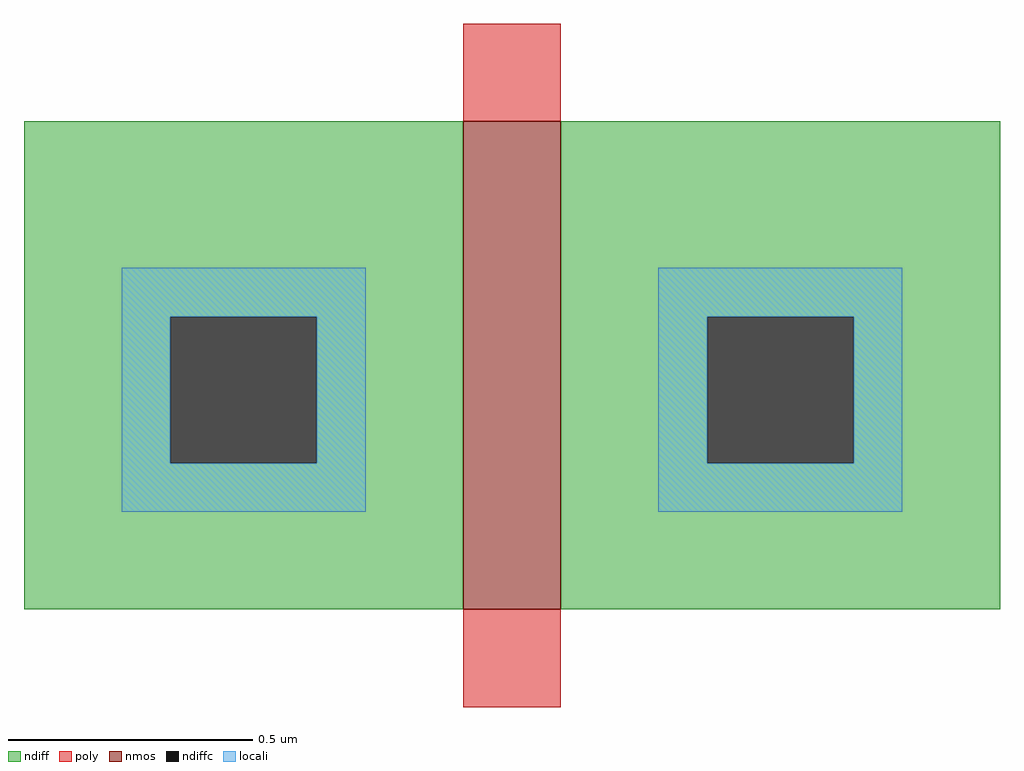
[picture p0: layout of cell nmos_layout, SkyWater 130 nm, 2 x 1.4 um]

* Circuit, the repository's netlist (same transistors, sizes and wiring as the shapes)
* NGSPICE file created from nmos_layout.ext - technology: sky130A

.subckt nmos_layout
X0 a_110_0# a_90_n20# a_0_0# SUB sky130_fd_pr__nfet_01v8 ad=0.9 pd=3.8 as=0.9 ps=3.8 w=1 l=0.2
.ends

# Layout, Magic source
magic
tech sky130A
<< nmos >>
rect 90 0 110 100
<< ndiff >>
rect 0 60 90 100
rect 0 30 30 60
rect 60 30 90 60
rect 0 0 90 30
rect 110 60 200 100
rect 110 30 140 60
rect 170 30 200 60
rect 110 0 200 30
<< ndiffc >>
rect 30 30 60 60
rect 140 30 170 60
<< poly >>
rect 90 100 110 120
rect 90 -20 110 0
<< locali >>
rect 20 60 70 70
rect 20 30 30 60
rect 60 30 70 60
rect 20 20 70 30
rect 130 60 180 70
rect 130 30 140 60
rect 170 30 180 60
rect 130 20 180 30
<< end >>
